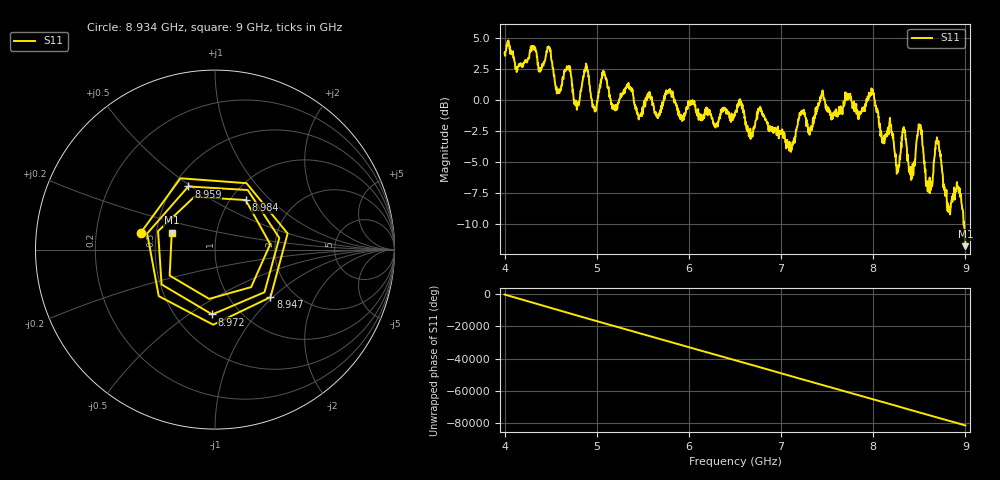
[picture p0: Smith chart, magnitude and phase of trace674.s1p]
! Created with skrf 1.8.0 (http://scikit-rf.org).
# Hz S RI R 50.0
!freq ReS11 ImS11
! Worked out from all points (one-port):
!   1601 points, 4 GHz to 9 GHz, reference 50 ohm
!   lowest |S11| = -11.7 dB at 9 GHz (marker M1), VSWR 1.70, Z = 30.1 + j6.07 ohm
!   |S11| at or under -10 dB: 8.980903 GHz to 8.981189 GHz (285.5 kHz wide, 0.00318 % of centre); 8.986142 GHz to end of sweep
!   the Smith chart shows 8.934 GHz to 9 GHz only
!   S11 on the Smith chart (normalised r, x): 8.934 GHz: 0.41, +0.09; 8.947 GHz: 1.52, -0.97; 8.959 GHz: 0.59, +0.49; 8.972 GHz: 0.75, -0.62; 8.984 GHz: 1.17, +0.72; 9 GHz: 0.60, +0.12
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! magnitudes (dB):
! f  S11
! 4 GHz  3.7
! 4.478 GHz  4.2
! 4.569 GHz  0.5
! 4.625 GHz  1.4
! 4.888 GHz  2.8
! 4.975 GHz  -0.7
! 5.078 GHz  2.1
! 5.25 GHz  0.1
! 5.875 GHz  -0.8
! 6.5 GHz  -1.0
! 7.125 GHz  -3.4
! 7.222 GHz  -1.1
! 7.75 GHz  0.5
! 7.988 GHz  0.8
! 8.259 GHz  -5.5
! 8.328 GHz  -2.6
! 8.375 GHz  -4.4
! 8.428 GHz  -5.2
! 8.503 GHz  -2.0
! 8.597 GHz  -7.2
! 8.697 GHz  -3.4
! 8.812 GHz  -8.4
! 8.934 GHz  -7.5
! 8.947 GHz  -7.8
! 8.959 GHz  -8.4
! 8.972 GHz  -8.8
! 8.984 GHz  -9.8
! 9 GHz  -11.7
